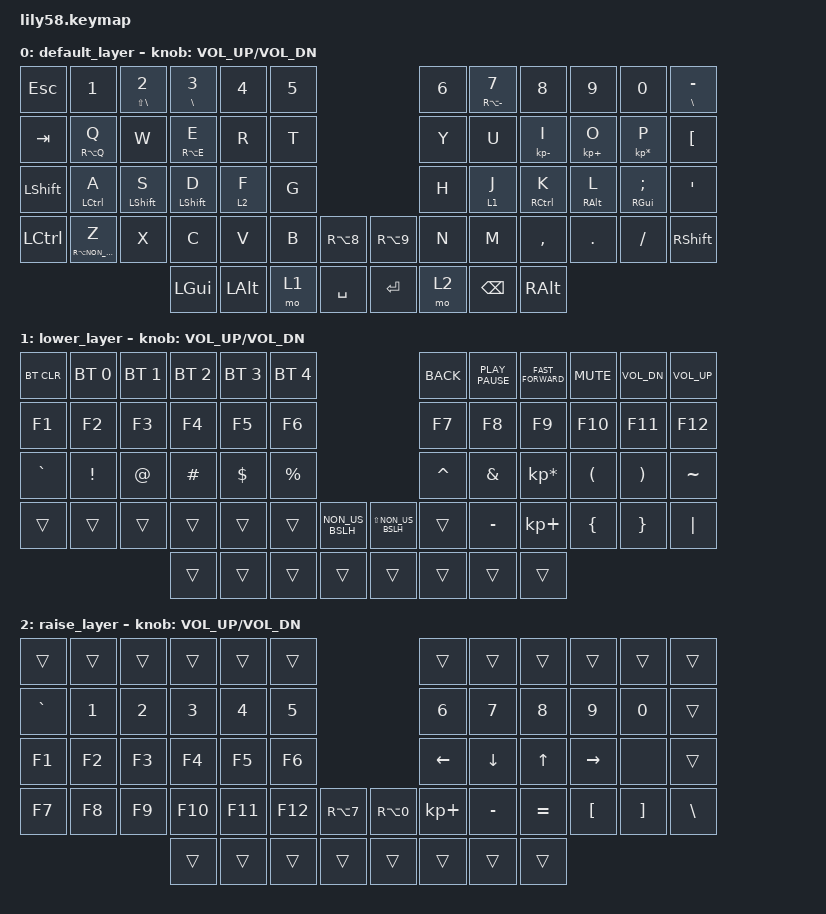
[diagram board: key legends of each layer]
/*
 * Copyright (c) 2020 The ZMK Contributors
 *
 * SPDX-License-Identifier: MIT
 */

#include <behaviors.dtsi>
#include <dt-bindings/zmk/bt.h>
#include <dt-bindings/zmk/keys.h>

/ {
    behaviors {
        hm: homerow_mods {
            compatible = "zmk,behavior-hold-tap";
            label = "HOMEROW_MODS";
            #binding-cells = <2>;
            tapping-term-ms = <400>;    
            quick-tap-ms = <0>;
            flavor = "tap-preferred";
            bindings = <&kp>, <&kp>;    // For modifier keys
        };

        lt: layer_tap {
            compatible = "zmk,behavior-hold-tap";
            label = "LAYER_TAP";
            #binding-cells = <2>;
            tapping-term-ms = <400>;
            quick-tap-ms = <0>;
            flavor = "tap-preferred";
            bindings = <&mo>, <&kp>;    // For layer switching
        };

        altgr: altgr_hold_tap {
            compatible = "zmk,behavior-hold-tap";
            label = "ALTGR_HOLD_TAP";
            #binding-cells = <2>;
            tapping-term-ms = <400>;
            quick-tap-ms = <0>;
            flavor = "tap-preferred";
            bindings = <&kp>, <&kp>;
        };

        star: star_hold_tap {
            compatible = "zmk,behavior-hold-tap";
            label = "STAR_HOLD_TAP";
            #binding-cells = <2>;
            tapping-term-ms = <400>;
            quick-tap-ms = <0>;
            flavor = "tap-preferred";
            bindings = <&kp>, <&kp>;
        };
    };

    keymap {
        compatible = "zmk,keymap";

        default_layer {
            // ------------------------------------------------------------------------------------------------------------
            // |  ESC  |  1  |  2  |  3   |  4   |  5   |                   |  6   |  7    |  8    |  9   |   0   |   `   |
            // |  TAB  |  Q  |  W  |  E   |  R   |  T   |                   |  Y   |  U    |  I    |  O   |   P   |   -   |
            // |  CTRL |  A  |  S  |  D   |  F   |  G   |                   |  H   |  J    |  K    |  L   |   ;   |   '   |
            // | SHIFT |  Z  |  X  |  C   |  V   |  B   |   "["  |  |  "]"  |  N   |  M    |  ,    |  .   |   /   | SHIFT |
            //                     | ALT  | GUI  | LOWER|  SPACE |  | ENTER | RAISE| BSPC  | GUI   |

            bindings = <
&kp ESC         &kp N1  &hm LS(BSLH) N2  &hm BSLH N3        &kp N4        &kp N5                            &kp N6  &hm RA(MINUS) N7    &kp N8     &kp N9   &kp N0    &hm BSLH MINUS
&kp TAB         &altgr RA(Q) Q    &kp W   &altgr RA(E) E         &kp R         &kp T                             &kp Y   &kp U     &hm KP_MINUS I      &hm KP_PLUS O    &hm KP_MULTIPLY P     &kp LEFT_BRACKET
&kp LEFT_SHIFT  &hm LCTRL A   &hm LSHFT S   &hm LSHFT D   &lt 2 F   &kp G                             &kp H   &lt 1 J   &hm RCTRL K   &hm RALT L   &hm RGUI SEMI  &kp SQT
&kp LCTRL       &altgr RA(NON_US_BSLH) Z   &kp X   &kp C         &kp V         &kp B   &kp RA(N8)    &kp RA(N9)  &kp N   &kp M     &kp COMMA  &kp DOT  &kp FSLH  &kp RSHFT
                                &kp LEFT_GUI  &kp LEFT_ALT  &mo 1   &kp SPACE     &kp RET    &mo 2   &kp BSPC  &kp RALT
            >;

            sensor-bindings = <&inc_dec_kp C_VOL_UP C_VOL_DN>;
        };

        lower_layer {
            // ------------------------------------------------------------------------------------------------------------
            // | BTCLR | BT1 | BT2 |  BT3 |  BT4 |  BT5 |                   |      |       |       |      |       |       |
            // |  F1   |  F2 |  F3 |  F4  |  F5  |  F6  |                   |  F7  |  F8   |  F9   |  F10 |  F11  |  F12  |
            // |   `   |  !  |  @  |  #   |  $   |  %   |                   |  ^   |  &    |  *    |  (   |   )   |   ~   |
            // |       |     |     |      |      |      |        |  |       |      |  _    |  +    |  {   |   }   |  "|"  |
            //                     |      |      |      |        |  |       |      |       |       |

            bindings = <
&bt BT_CLR  &bt BT_SEL 0  &bt BT_SEL 1  &bt BT_SEL 2  &bt BT_SEL 3  &bt BT_SEL 4                                          &kp K_BACK  &kp K_PLAY_PAUSE  &kp C_FAST_FORWARD  &kp K_MUTE  &kp C_VOL_DN  &kp C_VOLUME_UP
&kp F1      &kp F2        &kp F3        &kp F4        &kp F5        &kp F6                                                &kp F7      &kp F8            &kp F9              &kp F10     &kp F11       &kp F12
&kp GRAVE   &kp EXCL      &kp AT        &kp HASH      &kp DOLLAR    &kp PRCNT                                             &kp CARET   &kp AMPS          &kp KP_MULTIPLY     &kp LPAR    &kp RPAR      &kp TILDE
&trans      &trans        &trans        &trans        &trans        &trans        &kp NON_US_BSLH    &kp LS(NON_US_BSLH)  &trans      &kp MINUS         &kp KP_PLUS         &kp LBRC    &kp RBRC      &kp PIPE
                                        &trans        &trans        &trans        &trans             &trans               &trans      &trans            &trans
            >;

            sensor-bindings = <&inc_dec_kp C_VOL_UP C_VOL_DN>;
        };

        raise_layer {
            // ------------------------------------------------------------------------------------------------------------
            // |       |     |     |      |      |      |                   |      |       |       |      |       |       |
            // |   `   |  1  |  2  |  3   |  4   |  5   |                   |  6   |   7   |   8   |  9   |   0   |       |
            // |   F1  |  F2 |  F3 |  F4  |  F5  |  F6  |                   |      |   <-  |   v   |  ^   |  ->   |       |
            // |   F7  |  F8 |  F9 |  F10 |  F11 |  F12 |        |  |       |  +   |   -   |   =   |  [   |   ]   |   \   |
            //                     |      |      |      |        |  |       |      |       |       |

            bindings = <
&trans     &trans  &trans  &trans   &trans   &trans                             &trans          &trans     &trans        &trans     &trans    &trans
&kp GRAVE  &kp N1  &kp N2  &kp N3   &kp N4   &kp N5                             &kp N6          &kp N7     &kp N8        &kp N9     &kp N0    &trans
&kp F1     &kp F2  &kp F3  &kp F4   &kp F5   &kp F6                             &kp LEFT_ARROW  &kp DOWN   &kp UP_ARROW  &kp RIGHT  &none     &trans
&kp F7     &kp F8  &kp F9  &kp F10  &kp F11  &kp F12  &kp RA(N7)    &kp RA(N0)  &kp KP_PLUS     &kp MINUS  &kp EQUAL     &kp LBKT   &kp RBKT  &kp BSLH
                           &trans   &trans   &trans   &trans        &trans      &trans          &trans     &trans
            >;

            sensor-bindings = <&inc_dec_kp C_VOL_UP C_VOL_DN>;
        };

        extra_1 {
            status = "reserved";
        };

        extra_2 {
            status = "reserved";
        };

        extra_3 {
            status = "reserved";
        };
    };
};
